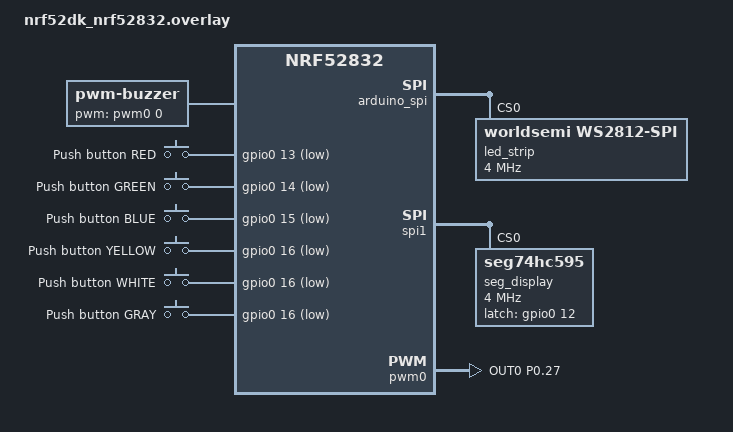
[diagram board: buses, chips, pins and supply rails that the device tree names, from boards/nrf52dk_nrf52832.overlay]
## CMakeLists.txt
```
cmake_minimum_required(VERSION 3.20.0)

list(APPEND EXTRA_ZEPHYR_MODULES ${CMAKE_CURRENT_SOURCE_DIR}/7seg_driver_module)

find_package(Zephyr REQUIRED HINTS $ENV{ZEPHYR_BASE})
project(mastermind)

FILE(GLOB app_sources src/*.cpp)
target_sources(app PRIVATE ${app_sources})

set(GIT_DIR_LOOKUP_POLICY ALLOW_LOOKING_ABOVE_CMAKE_SOURCE_DIR)
add_subdirectory(src/etl)
target_link_libraries(app PRIVATE etl::etl)
```

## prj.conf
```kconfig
# Device
CONFIG_LOG=y
CONFIG_TEST_RANDOM_GENERATOR=y
CONFIG_ENTROPY_GENERATOR=y
CONFIG_STATIC_INIT_GNU=y
CONFIG_POLL=y
CONFIG_SMF=y
CONFIG_POWEROFF=y
CONFIG_SPI=y

# For LED
CONFIG_LED_STRIP=y
CONFIG_LED_STRIP_LOG_LEVEL_DBG=y

# For Bluetooth
CONFIG_BT=y
CONFIG_BT_SMP=y
CONFIG_BT_PERIPHERAL=y
CONFIG_BT_DIS=y
CONFIG_BT_DIS_PNP=n
CONFIG_BT_DEVICE_NAME="Mastermind"
CONFIG_BT_GATT_CLIENT=y
CONFIG_BT_BUF_ACL_RX_SIZE=251
CONFIG_BT_BUF_ACL_TX_SIZE=251
CONFIG_BT_L2CAP_TX_MTU=247
CONFIG_BT_CTLR_DATA_LENGTH_MAX=251

# For Buzzer
CONFIG_PWM=y
CONFIG_PWM_LOG_LEVEL_DBG=y

# For 7 segment display
CONFIG_AUXDISPLAY=y
CONFIG_AUXDISPLAY_74HC595=y
```

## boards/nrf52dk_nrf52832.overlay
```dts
#include <zephyr/dt-bindings/led/led.h>

&arduino_spi {/* MOSI on D11 / P0.23 */
	compatible = "nordic,nrf-spim";
	led_strip: ws2812@0 {
		compatible = "worldsemi,ws2812-spi";

		/* SPI */
		reg = <0>; /* ignored, but necessary for SPI bindings */
		spi-max-frequency = <4000000>;

		/* WS2812 */
		chain-length = <8>;
		color-mapping = <LED_COLOR_ID_GREEN
		LED_COLOR_ID_RED
		LED_COLOR_ID_BLUE>;
		spi-one-frame = <0x70>;
		spi-zero-frame = <0x40>;
	};
};

&spi1 {
	status = "okay";
	compatible = "nordic,nrf-spim";
	seg_display: seg_display@0 {
		compatible = "zephyr,seg74hc595";
		/* SPI */
		reg = <0>;
		spi-max-frequency = <4000000>;

		/* 74HC595 */
		latch-gpios = <&gpio0 12 GPIO_ACTIVE_HIGH>;
		digits = <2>;
		common-anode;
	};
};

/ {
	aliases {
		led-strip = &led_strip;
	};

	buzzer: buzzer {
		compatible = "pwm-buzzer";
		status = "okay";
		pwms = <&pwm0 0 PWM_MSEC(2) PWM_POLARITY_NORMAL>;
	};

	buttons_color {
		compatible = "gpio-keys";

		button_red: button_red {
			gpios = <&gpio0 13 (GPIO_PULL_UP | GPIO_ACTIVE_LOW)>;
			label = "Push button RED";
			zephyr,code = <INPUT_KEY_0>;
		};

		button_green: button_green {
			gpios = <&gpio0 14 (GPIO_PULL_UP | GPIO_ACTIVE_LOW)>;
			label = "Push button GREEN";
			zephyr,code = <INPUT_KEY_1>;
		};

		button_blue: button_blue {
			gpios = <&gpio0 15 (GPIO_PULL_UP | GPIO_ACTIVE_LOW)>;
			label = "Push button BLUE";
			zephyr,code = <INPUT_KEY_2>;
		};

		button_yellow: button_yellow {
			gpios = <&gpio0 16 (GPIO_PULL_UP | GPIO_ACTIVE_LOW)>;
			label = "Push button YELLOW";
			zephyr,code = <INPUT_KEY_3>;
		};

		button_white: button_white {
			gpios = <&gpio0 16 (GPIO_PULL_UP | GPIO_ACTIVE_LOW)>;
			label = "Push button WHITE";
			zephyr,code = <INPUT_KEY_4>;
		};

		button_gray: button_gray {
			gpios = <&gpio0 16 (GPIO_PULL_UP | GPIO_ACTIVE_LOW)>;
			label = "Push button GRAY";
			zephyr,code = <INPUT_KEY_5>;
		};

	};
};

&pinctrl {
	pwm0_buzzer: pwm0_buzzer {
		group1 {
			psels = <NRF_PSEL(PWM_OUT0, 0, 27)>;
			nordic,invert;
		};
	};
	pwm0_buzzer_sleep: pwm0_buzzer_sleep {
		group1 {
			psels = <NRF_PSEL(PWM_OUT0, 0, 27)>;
			low-power-enable;
		};
	};
};

&pwm0 {
	status = "okay";
	pinctrl-0 = <&pwm0_buzzer>;
	pinctrl-1 = <&pwm0_buzzer_sleep>;
	pinctrl-names = "default", "sleep";
};
```

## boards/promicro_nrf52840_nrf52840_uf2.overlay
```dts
#include <zephyr/dt-bindings/led/led.h>

&spi2 {
	compatible = "nordic,nrf-spim";
	pinctrl-0 = <&spi2_ledstrip>;
	pinctrl-1 = <&spi2_ledstrip_sleep>;

	led_strip: ws2812@0 {
		compatible = "worldsemi,ws2812-spi";

		/* SPI */
		reg = <0>; /* ignored, but necessary for SPI bindings */
		spi-max-frequency = <4000000>;

		/* WS2812 */
		chain-length = <8>;
		color-mapping = <LED_COLOR_ID_GREEN
		LED_COLOR_ID_RED
		LED_COLOR_ID_BLUE>;
		spi-one-frame = <0x70>;
		spi-zero-frame = <0x40>;
	};
};

/ {
	aliases {
		led-strip = &led_strip;
	};

	buzzer: buzzer {
		compatible = "pwm-buzzer";
		status = "okay";
		pwms = <&pwm0 0 PWM_MSEC(2) PWM_POLARITY_NORMAL>;
	};

	buttons_color {
		compatible = "gpio-keys";

		button_red: button_red {
			gpios = <&gpio0 31 (GPIO_PULL_UP | GPIO_ACTIVE_LOW)>;
			label = "Push button RED";
			zephyr,code = <INPUT_KEY_0>;
		};

		button_green: button_green {
			gpios = <&gpio0 29 (GPIO_PULL_UP | GPIO_ACTIVE_LOW)>;
			label = "Push button GREEN";
			zephyr,code = <INPUT_KEY_1>;
		};

		button_blue: button_blue {
			gpios = <&gpio0 02 (GPIO_PULL_UP | GPIO_ACTIVE_LOW)>;
			label = "Push button BLUE";
			zephyr,code = <INPUT_KEY_2>;
		};

		button_yellow: button_yellow {
			gpios = <&gpio1 15 (GPIO_PULL_UP | GPIO_ACTIVE_LOW)>;
			label = "Push button YELLOW";
			zephyr,code = <INPUT_KEY_3>;
		};

		button_white: button_white {
			gpios = <&gpio1 13 (GPIO_PULL_UP | GPIO_ACTIVE_LOW)>;
			label = "Push button WHITE";
			zephyr,code = <INPUT_KEY_4>;
		};

		button_gray: button_gray {
			gpios = <&gpio1 11 (GPIO_PULL_UP | GPIO_ACTIVE_LOW)>;
			label = "Push button GRAY";
			zephyr,code = <INPUT_KEY_5>;
		};

	};
};

&pinctrl {
	pwm0_buzzer: pwm0_buzzer {
		group1 {
			psels = <NRF_PSEL(PWM_OUT0, 1, 00)>;
			nordic,invert;
		};
	};
	pwm0_buzzer_sleep: pwm0_buzzer_sleep {
		group1 {
			psels = <NRF_PSEL(PWM_OUT0, 1, 00)>;
			low-power-enable;
		};
	};

	spi2_ledstrip: spi2_ledstrip {
		group1 {
			psels = <NRF_PSEL(SPIM_SCK, 1, 1)>,
				<NRF_PSEL(SPIM_MOSI, 0, 11)>,
				<NRF_PSEL(SPIM_MISO, 1, 7)>;
		};
	};

	spi2_ledstrip_sleep: spi2_ledstrip_sleep {
		group1 {
			psels = <NRF_PSEL(SPIM_SCK, 1, 1)>,
				<NRF_PSEL(SPIM_MOSI, 0, 11)>,
				<NRF_PSEL(SPIM_MISO, 1, 7)>;
			low-power-enable;
		};
	};
};

&pwm0 {
	status = "okay";
	pinctrl-0 = <&pwm0_buzzer>;
	pinctrl-1 = <&pwm0_buzzer_sleep>;
	pinctrl-names = "default", "sleep";
};
```

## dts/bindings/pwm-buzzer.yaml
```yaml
description: PWM-driven buzzer.

compatible: "pwm-buzzer"

include: base.yaml

properties:
  pwms:
    required: true
    type: phandle-array
    description: PWM specifier driving the buzzer.
```

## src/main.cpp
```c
#include <zephyr/logging/log.h>
#include <zephyr/kernel.h>
#include <zephyr/device.h>
#include <zephyr/sys/util.h>
#include <zephyr/smf.h>
#include <zephyr/sys/poweroff.h>

#include "etl/array.h"
#include "combination.hpp"
#include "leds.hpp"
#include "buttons.hpp"
#include "ble.hpp"
#include "buzzer.hpp"
#include "display.hpp"
#include "app_cfg.hpp"

#define LOG_LEVEL 4

LOG_MODULE_REGISTER(main);

enum state
{
	STATE_START,
	STATE_CHECK_INPUT,
	STATE_CHECK_CMD,
	STATE_CLUES,
	STATE_END_WIN,
	STATE_END_LOST,
	STATE_OFF
};

static void state_start_run(void *o);
static void state_check_input_run(void *o);
static void state_check_cmd_run(void *o);
static void state_clues_run(void *o);
static void state_end_win_run(void *o);
static void state_end_lost_run(void *o);
static void state_off_run(void *o);

// FSM state variables
static led_strip leds;
static buzzer buzzer;
static display display;
static buttons buts;
static combination code;
static etl::array<combination, MAX_TRY> tentatives;
static uint8_t try_id;
static bool manual_mode;
static struct smf_ctx ctx;

static const struct smf_state states[] = {
	[STATE_START] = SMF_CREATE_STATE(NULL, state_start_run, NULL, NULL, NULL),
	[STATE_CHECK_INPUT] = SMF_CREATE_STATE(NULL, state_check_input_run, NULL, NULL, NULL),
	[STATE_CHECK_CMD] = SMF_CREATE_STATE(NULL, state_check_cmd_run, NULL, NULL, NULL),
	[STATE_CLUES] = SMF_CREATE_STATE(NULL, state_clues_run, NULL, NULL, NULL),
	[STATE_END_WIN] = SMF_CREATE_STATE(NULL, state_end_win_run, NULL, NULL, NULL),
	[STATE_END_LOST] = SMF_CREATE_STATE(NULL, state_end_lost_run, NULL, NULL, NULL),
	[STATE_OFF] = SMF_CREATE_STATE(NULL, state_off_run, NULL, NULL, NULL),
};

static void state_start_run(void *o)
{
	try_id = 0;
	tentatives[try_id].unset_all();
	leds.reset();

	if (!manual_mode)
	{
		// If manual mode is disabled, generate a random code
		code.random_fill();
	}

	display.show_number(1);
	buzzer.play_start();

	ble_update_status(tentatives, code, try_id);
	smf_set_state(&ctx, &states[STATE_CHECK_CMD]);
}

static void state_check_cmd_run(void *o)
{
	etl::bitset<BT_COMMAND_COUNT> &cmds = ble_get_commands();
	etl::array<uint8_t, BT_COMMAND_BUF_SIZE> &buf = ble_get_command_buf();
	const struct smf_state *next_state = &states[STATE_CHECK_INPUT];
	uint8_t pos = 0;

	while (cmds.any())
	{
		pos = cmds.find_first(true);
		switch (pos)
		{
		case BT_COMMAND_RESET:
			LOG_INF("Executing 'Reset' command");
			manual_mode = false;
			next_state = &states[STATE_START];
			break;
		case BT_COMMAND_OFF:
			LOG_INF("Executing 'Off' command");
			next_state = &states[STATE_OFF];
			break;
		case BT_COMMAND_CODE:
			LOG_INF("Executing 'Code' command");
			manual_mode = true;
			for (uint8_t i = 0; i < code.slots.size(); i++)
			{
				code.set_slot(i, static_cast<slot_value>(buf[i]));
			}
			next_state = &states[STATE_START];
			break;
		default:
			LOG_ERR("Unknown command");
			break;
		}
		cmds.set(pos, false);
	}

	smf_set_state(&ctx, next_state);
}

static void state_check_input_run(void *o)
{
	uint8_t slot_left = 0;
	button_val val = buts.wait_for_input(K_MSEC(1000));
	switch (val)
	{
	case button_val::BUTTON_VAL_1:
	case button_val::BUTTON_VAL_2:
	case button_val::BUTTON_VAL_3:
	case button_val::BUTTON_VAL_4:
	case button_val::BUTTON_VAL_5:
	case button_val::BUTTON_VAL_6:
		buzzer.play_button();
		slot_left = tentatives[try_id].set_slot_next(static_cast<slot_value>(val));
		break;
	case button_val::BUTTON_VAL_NONE:
		smf_set_state(&ctx, &states[STATE_CHECK_CMD]);
		return;
	default:
		LOG_ERR("Unknown button pressed");
		break;
	}

	if (slot_left == 0)
	{
		smf_set_state(&ctx, &states[STATE_CLUES]);
	}
	else
	{
		leds.update_combination(tentatives[try_id]);
		leds.refresh();
	}
}

static void state_clues_run(void *o)
{
	LOG_INF("[Combi %d] All slot filled, showing clues", try_id);
	bool guessed = tentatives[try_id].compute_clues(code);
	leds.update_combination(tentatives[try_id++]);
	leds.refresh();

	buzzer.play_clues();
	display.show_number(try_id + 1);

	ble_update_status(tentatives, code, try_id);

	if (guessed)
	{
		smf_set_state(&ctx, &states[STATE_END_WIN]);
	}
	else if (try_id >= tentatives.size())
	{
		smf_set_state(&ctx, &states[STATE_END_LOST]);
	}
	else
	{
		tentatives[try_id].unset_all();
		smf_set_state(&ctx, &states[STATE_CHECK_CMD]);
	}
}

static void state_end_win_run(void *o)
{
	LOG_INF("WIN !");
	buzzer.play_win();
	display.clear();

	// Wait a bit to show the win message
	k_sleep(K_SECONDS(5));
	manual_mode = false;
	smf_set_state(&ctx, &states[STATE_START]);
}

static void state_end_lost_run(void *o)
{
	LOG_INF("LOST !");
	buzzer.play_lose();
	display.clear();
	leds.update_combination(code);
	leds.refresh();

	// Wait a bit to show the lose message
	k_sleep(K_SECONDS(5));
	manual_mode = false;
	smf_set_state(&ctx, &states[STATE_START]);
}

static void state_off_run(void *o)
{
	LOG_INF("Powering off");
	leds.reset();
	sys_poweroff();
}

int main(void)
{
	if (!buts.init())
	{
		return 1;
	}

	if (!leds.init())
	{
		return 1;
	}

	if (!ble_init())
	{
		return 1;
	}

	if(!buzzer.init())
	{
		return 1;
	}

	if(!display.init())
	{
		return 1;
	}

	manual_mode = false;
	smf_set_initial(&ctx, &states[STATE_START]);

	while (1)
	{
		smf_run_state(&ctx);
	}

	return 1;
}
```

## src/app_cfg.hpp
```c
#ifndef APP_CFG_H
#define APP_CFG_H

#define MAX_TRY 10

#endif
```

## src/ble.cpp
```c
#include <zephyr/logging/log.h>
#include <zephyr/device.h>
#include <zephyr/devicetree.h>
#include <zephyr/bluetooth/bluetooth.h>
#include <zephyr/bluetooth/hci.h>
#include <zephyr/bluetooth/conn.h>
#include <zephyr/bluetooth/uuid.h>
#include <zephyr/bluetooth/gatt.h>
#include <zephyr/bluetooth/services/bas.h>
#include <zephyr/bluetooth/services/hrs.h>

#include "etl/bitset.h"
#include "etl/array.h"
#include "ble.hpp"
#include "combination.hpp"
#include "app_cfg.hpp"

#define BT_UUID_MSTR_SRV_VAL BT_UUID_128_ENCODE(0x00001523, 0x2929, 0xefde, 0x1523, 0x785feabcd123)
#define BT_UUID_MSTR_STATUS_CHAR_VAL BT_UUID_128_ENCODE(0x00001524, 0x2929, 0xefde, 0x1523, 0x785feabcd123)
#define BT_UUID_MSTR_CMD_CHAR_VAL BT_UUID_128_ENCODE(0x00001525, 0x2929, 0xefde, 0x1523, 0x785feabcd123)

#define BT_UUID_MSTR_SRV BT_UUID_DECLARE_128(BT_UUID_MSTR_SRV_VAL)
#define BT_UUID_MSTR_STATUS_CHAR BT_UUID_DECLARE_128(BT_UUID_MSTR_STATUS_CHAR_VAL)
#define BT_UUID_MSTR_CMD_CHAR BT_UUID_DECLARE_128(BT_UUID_MSTR_CMD_CHAR_VAL)

#define LOG_LEVEL 4

LOG_MODULE_REGISTER(ble);

static void connected(struct bt_conn *conn, uint8_t err);
static void disconnected(struct bt_conn *conn, uint8_t reason);
static void recycled(void);
static void exchange_mtu(struct bt_conn *conn, uint8_t att_err,
                         struct bt_gatt_exchange_params *params);
static ssize_t read_status(struct bt_conn *conn,
                           const struct bt_gatt_attr *attr, void *buf,
                           uint16_t len, uint16_t offset);
static ssize_t write_command(struct bt_conn *conn,
                             const struct bt_gatt_attr *attr,
                             const void *buf,
                             uint16_t len, uint16_t offset, uint8_t flags);

static const struct bt_data ad[] = {
    BT_DATA_BYTES(BT_DATA_FLAGS, (BT_LE_AD_GENERAL | BT_LE_AD_NO_BREDR)),
    BT_DATA_BYTES(BT_DATA_UUID16_ALL,
                  BT_UUID_16_ENCODE(BT_UUID_DIS_VAL)),
};

static const struct bt_data sd[] = {
    BT_DATA(BT_DATA_NAME_COMPLETE, CONFIG_BT_DEVICE_NAME, sizeof(CONFIG_BT_DEVICE_NAME) - 1),
};

static struct bt_conn *connection;
static uint8_t status_buf[BLE_STATUS_BUF_SIZE] = {0};
static uint8_t status_buf_len = 0;
static etl::bitset<BT_COMMAND_COUNT> command_flags = 0;
static etl::array<uint8_t, BT_COMMAND_BUF_SIZE> command_buf = {0};

BT_CONN_CB_DEFINE(conn_callbacks) = {
    .connected = connected,
    .disconnected = disconnected,
    .recycled = recycled,
};

BT_GATT_SERVICE_DEFINE(mstr_svc,
                       BT_GATT_PRIMARY_SERVICE(BT_UUID_MSTR_SRV),
                       BT_GATT_CHARACTERISTIC(BT_UUID_MSTR_STATUS_CHAR, BT_GATT_CHRC_NOTIFY | BT_GATT_CHRC_READ,
                                              BT_GATT_PERM_READ, read_status, NULL, NULL),
                       BT_GATT_CCC(NULL, BT_GATT_PERM_READ | BT_GATT_PERM_WRITE),
                       BT_GATT_CHARACTERISTIC(BT_UUID_MSTR_CMD_CHAR,
                                              BT_GATT_CHRC_WRITE,
                                              BT_GATT_PERM_WRITE, NULL, write_command,
                                              NULL), );

static void connected(struct bt_conn *conn, uint8_t err)
{
    static struct bt_gatt_exchange_params params;

    if (err)
    {
        LOG_ERR("Connection failed, err 0x%02x %s", err, bt_hci_err_to_str(err));
    }
    else
    {
        LOG_INF("Connected, updating MTU");
        connection = conn;
        params.func = exchange_mtu;
        err = bt_gatt_exchange_mtu(connection, &params);
        if (err)
        {
            LOG_ERR("bt_gatt_exchange_mtu failed (err %d)", err);
        }
    }
}

static void disconnected(struct bt_conn *conn, uint8_t reason)
{
    LOG_INF("Disconnected, reason 0x%02x %s", reason, bt_hci_err_to_str(reason));
    connection = NULL;
}

static void recycled(void)
{
    LOG_INF("Connection recycled. Restarting advertisements");
    int err = bt_le_adv_start(BT_LE_ADV_CONN_FAST_1, ad, ARRAY_SIZE(ad), sd, ARRAY_SIZE(sd));
    if (err)
    {
        LOG_ERR("Advertising failed to start (err %d)", err);
        return;
    }
}

static void exchange_mtu(struct bt_conn *conn, uint8_t att_err,
                         struct bt_gatt_exchange_params *params)
{
    if (att_err)
    {
        LOG_ERR("MTU exchange failed");
    }
    else
    {
        LOG_INF("MTU exchange successful");
    }
}

static ssize_t read_status(struct bt_conn *conn,
                           const struct bt_gatt_attr *attr, void *buf,
                           uint16_t len, uint16_t offset)
{
    LOG_INF("Received request to read game status");
    return bt_gatt_attr_read(conn, attr, buf, len, offset,
                             &status_buf, status_buf_len);
}

static ssize_t write_command(struct bt_conn *conn,
                             const struct bt_gatt_attr *attr,
                             const void *buf,
                             uint16_t len, uint16_t offset, uint8_t flags)
{
    uint8_t cmd = *((uint8_t *)buf);

    LOG_INF("Received write command");

    if (len < 1 || len > BT_COMMAND_BUF_SIZE + 1)
    {
        LOG_ERR("Incorrect data length");
        return BT_GATT_ERR(BT_ATT_ERR_INVALID_ATTRIBUTE_LEN);
    }

    if (offset != 0)
    {
        LOG_ERR("Incorrect data offset");
        return BT_GATT_ERR(BT_ATT_ERR_INVALID_OFFSET);
    }

    switch (cmd)
    {
    case BT_COMMAND_RESET:
    case BT_COMMAND_OFF:
    case BT_COMMAND_CODE:
        LOG_INF("Valid command received");
        command_flags.set(cmd, true);
        break;
    default:
        LOG_ERR("Unknown command");
        return BT_GATT_ERR(BT_ATT_ERR_VALUE_NOT_ALLOWED);
    }

    memcpy(command_buf.data(), ((uint8_t *)buf) + 1, len - 1);

    return len;
}

/**
 * @brief Initialise the Bluetooth Low Energy module.
 *
 * @return true if the initialization was successful, false otherwise.
 */
bool ble_init(void)
{
    int32_t err = bt_enable(NULL);
    if (err)
    {
        LOG_ERR("Bluetooth init failed (err %d)", err);
        return false;
    }

    LOG_INF("Starting advertising");
    err = bt_le_adv_start(BT_LE_ADV_CONN_FAST_1, ad, ARRAY_SIZE(ad), sd, ARRAY_SIZE(sd));
    if (err)
    {
        LOG_ERR("Advertising failed to start (err %d)", err);
        return false;
    }

    return true;
}

/**
 * @brief Updates the game status buffer, which is then sent to connected devices.
 *
 * The game status is made up of the following elements:
 * - The correct combination (code) object, serialized.
 * - The number of tries that have been made so far.
 * - The combinations that have been tried before, serialized.
 *
 * @param tentatives The tentative combinations that have been tried.
 * @param code The correct combination.
 * @param try_nb The number of tries that have been made so far.
 */
void ble_update_status(etl::array<combination, MAX_TRY> &tentatives, combination &code, uint8_t try_nb)
{
    uint8_t *buf_ptr = status_buf;

    buf_ptr = code.serialize(buf_ptr);
    memcpy(buf_ptr, &try_nb, sizeof(try_nb));
    buf_ptr += sizeof(try_nb);
    for (uint8_t i = 0; i < try_nb; i++)
    {
        buf_ptr = tentatives[i].serialize(buf_ptr);
    }

    status_buf_len = buf_ptr - &status_buf[0];
    ble_status_notify();
}

/**
 * @brief Notify the connected device about the game status.
 */
void ble_status_notify(void)
{
    LOG_HEXDUMP_INF(status_buf, status_buf_len, "Status buffer");
    const struct bt_gatt_attr *attr = &mstr_svc.attrs[1];
    if (connection && bt_gatt_is_subscribed(connection, attr, BT_GATT_CCC_NOTIFY))
    {
        LOG_INF("Sending notification to update game status");
        int err = bt_gatt_notify(connection, attr, status_buf, status_buf_len);
        if (err)
        {
            LOG_ERR("Failed to send notification (err %d)", err);
        }
    }
}

/**
 * @brief Returns a reference to the command flags bitset.
 *
 * @return A reference to the command flags bitset.
 */
etl::bitset<BT_COMMAND_COUNT> &ble_get_commands(void)
{
    return command_flags;
}

/**
 * @brief Returns a reference to the command buffer array.
 *
 * @return A reference to the command buffer array.
 */
etl::array<uint8_t, BT_COMMAND_BUF_SIZE> &ble_get_command_buf(void)
{
    return command_buf;
}
```

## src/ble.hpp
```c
#ifndef BLE_H
#define BLE_H

#include "etl/bitset.h"
#include "etl/array.h"

#include "combination.hpp"
#include "app_cfg.hpp"

#define BLE_STATUS_BUF_SIZE 128

#define BT_COMMAND_RESET 0
#define BT_COMMAND_OFF 1
#define BT_COMMAND_CODE 2
#define BT_COMMAND_COUNT 3
#define BT_COMMAND_BUF_SIZE 8

bool ble_init(void);
void ble_update_status(etl::array<combination, MAX_TRY> &tentatives, combination &code, uint8_t try_nb);
void ble_status_notify();
etl::bitset<BT_COMMAND_COUNT> &ble_get_commands(void);
etl::array<uint8_t, BT_COMMAND_BUF_SIZE> &ble_get_command_buf(void);

#endif
```

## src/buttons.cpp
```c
#include <zephyr/logging/log.h>

#include <zephyr/kernel.h>
#include <zephyr/device.h>
#include <zephyr/drivers/gpio.h>

#include "buttons.hpp"

#define LOG_LEVEL 4
#define DEBOUNCE_TIME 200

LOG_MODULE_REGISTER(buttons);

static struct k_poll_signal signal;

/**
 * @brief Raise a signal based on the pressed button.
 *
 * @param dev The device that triggered the callback.
 * @param cb The callback structure.
 * @param pins The pin number of the pressed button.
 */
static void button_pressed(const struct device *dev, struct gpio_callback *cb, uint32_t pins)
{
	static int64_t last_button_pressed = 0;
	// Debounce all the buttons together, no concurrent button presses allowed
	int64_t current_tick = k_uptime_get();
	if (current_tick - last_button_pressed > DEBOUNCE_TIME)
	{
		k_poll_signal_raise(&signal, pins);
		last_button_pressed = current_tick;
	}
}

/**
 * @brief Wait for a button press event with a given timeout.
 *
 * @param timeout The timeout in milliseconds.
 * @return The button value of the pressed button, or BUTTON_VAL_NONE if no event was received.
 */
button_val buttons::wait_for_input(k_timeout_t timeout)
{
	unsigned int signaled;
	int result;
	int index = 0;
	button_val ret = button_val::BUTTON_VAL_NONE;
	struct k_poll_event events[1] = {
		K_POLL_EVENT_INITIALIZER(K_POLL_TYPE_SIGNAL,
								 K_POLL_MODE_NOTIFY_ONLY,
								 &signal),
	};

	k_poll(events, 1, timeout);
	k_poll_signal_check(&signal, &signaled, &result);

	if (signaled)
	{
		for (const auto &i : specs)
		{
			if (BIT(i.pin) == result)
			{
				ret = static_cast<button_val>(index);
				break;
			}
			index++;
		}
	}
	else
	{
		ret = button_val::BUTTON_VAL_NONE;
	}

	k_poll_signal_reset(&signal);
	events[0].state = K_POLL_STATE_NOT_READY;
	return ret;
}

/**
 * @brief Initialise the buttons module.
 *
 * @return true if the initialization was successful, false otherwise.
 */
bool buttons::init(void)
{
	int ret;
	gpio_port_pins_t pin_mask;

	LOG_INF("Initializing buttons");

	for (const auto &i : specs)
	{
		if (!device_is_ready(i.port))
		{
			LOG_ERR("Device is not ready");
			return false;
		}

		ret = gpio_pin_configure_dt(&i, GPIO_INPUT);
		if (ret < 0)
		{
			LOG_ERR("Couldn't configure pin: %d", ret);
			return false;
		}

		ret = gpio_pin_interrupt_configure_dt(&i, GPIO_INT_LEVEL_ACTIVE);
		if (ret < 0)
		{
			LOG_ERR("Couldn't configure pin interrupt: %d", ret);
			return false;
		}

		WRITE_BIT(pin_mask, i.pin, 1);
	}

	// Initialize polling signal
	k_poll_signal_init(&signal);

	// Adding interrupt callback
	gpio_init_callback(&cb_data, button_pressed, pin_mask);

	for (const auto &i : specs)
	{
		ret = gpio_add_callback_dt(&i, &cb_data);
		if (ret < 0)
		{
			LOG_ERR("Couldn't add callback: %d", ret);
			return false;
		}
	}

	return true;
}
```

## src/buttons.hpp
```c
#ifndef BUTTONS_H
#define BUTTONS_H

#include <cstdint>
#include <zephyr/kernel.h>
#include <zephyr/device.h>
#include <zephyr/devicetree.h>
#include <zephyr/drivers/gpio.h>

#include "etl/array.h"

enum class button_val : uint8_t
{
    BUTTON_VAL_1 = 0,
    BUTTON_VAL_2,
    BUTTON_VAL_3,
    BUTTON_VAL_4,
    BUTTON_VAL_5,
    BUTTON_VAL_6,
    BUTTON_VAL_NONE,
    BUTTON_VAL_MAX,
};

class buttons
{
public:
    bool init(void);
    button_val wait_for_input(k_timeout_t timeout);

private:
    const etl::array<struct gpio_dt_spec, 6> specs = {{GPIO_DT_SPEC_GET(DT_NODELABEL(button_white), gpios),
                                                       GPIO_DT_SPEC_GET(DT_NODELABEL(button_red), gpios),
                                                       GPIO_DT_SPEC_GET(DT_NODELABEL(button_green), gpios),
                                                       GPIO_DT_SPEC_GET(DT_NODELABEL(button_blue), gpios),
                                                       GPIO_DT_SPEC_GET(DT_NODELABEL(button_yellow), gpios),
                                                       GPIO_DT_SPEC_GET(DT_NODELABEL(button_gray), gpios)}};
    struct gpio_callback cb_data;
};

#endif
```

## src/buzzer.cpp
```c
#include <zephyr/kernel.h>
#include <zephyr/device.h>
#include <zephyr/drivers/pwm.h>
#include <zephyr/logging/log.h>

#include "etl/array.h"
#include "buzzer.hpp"

#define BUZZER_STACK 1024
#define LOG_LEVEL 4

LOG_MODULE_REGISTER(buzzer);

static const etl::array<note_duration, 3> start{{{500, 200},
                                                 {800, 200},
                                                 {500, 200}}};
static const etl::array<note_duration, 1> button{{{400, 100}}};
static const etl::array<note_duration, 1> clues{{{600, 200}}};
static const etl::array<note_duration, 2> lose{{{392, 250}, {262, 500}}};
static const etl::array<note_duration, 12> win{{{880, 250},
                                                {988, 250},
                                                {523, 250},
                                                {988, 250},
                                                {523, 250},
                                                {587, 250},
                                                {523, 250},
                                                {587, 250},
                                                {659, 250},
                                                {587, 250},
                                                {659, 250},
                                                {659, 250}}};

K_THREAD_STACK_DEFINE(threadStack, BUZZER_STACK);
buzzer::buzzer()
{
    k_sem_init(&initialized, 0, 1);
    threadId = k_thread_create(&kthread,
                               threadStack,
                               K_THREAD_STACK_SIZEOF(threadStack),
                               buzzer::thread,
                               this, NULL, NULL,
                               K_LOWEST_APPLICATION_THREAD_PRIO, 0, K_NO_WAIT);
}

/**
 * @brief Thread function for buzzer.
 *
 * This function is responsible for playing all the notes.
 */
void buzzer::thread(void *object, void *d1, void *d2)
{
    buzzer *buzzer_obj = reinterpret_cast<buzzer *>(object);
    bool restart_now = false;
    k_sem_take(&buzzer_obj->initialized, K_FOREVER);

    while (1)
    {
        restart_now = false;
        for (auto elem : buzzer_obj->song)
        {
            if (elem.note == 0)
            {
                // Silence
                pwm_set_pulse_dt(&buzzer_obj->pwm_buzzer, 0);
            }
            else
            {
                pwm_set_dt(&buzzer_obj->pwm_buzzer, PWM_HZ(elem.note),
                           PWM_HZ((elem.note)) / 2);
            }
            if (k_msleep(elem.duration) > 0)
            {
                // If sleep is interrupted by another song request, immediatly stop the current song and restart the new one
                restart_now = true;
                break;
            };
        }

        pwm_set_pulse_dt(&buzzer_obj->pwm_buzzer, 0);
        if (!restart_now)
        {
            k_sleep(K_FOREVER);
        }
    }
}

/**
 * @brief Initialises the buzzer.
 *
 * Checks if the PWM device is ready and initializes the
 * semaphore used to signal thread initialization.
 *
 * @return true if the initialization was successful, false otherwise.
 */
bool buzzer::init(void)
{
    int err = 0;

    if (!pwm_is_ready_dt(&pwm_buzzer))
    {
        LOG_ERR("Error: PWM device %s is not ready", pwm_buzzer.dev->name);
        return false;
    }

    k_sem_give(&initialized);
    return true;
}

/**
 * @brief Play the beep sound.
 *
 */
void buzzer::play_button(void)
{
    song.assign(button.begin(), button.end());
    k_wakeup(threadId);
}

void buzzer::play_start(void)
{
    song.assign(start.begin(), start.end());
    k_wakeup(threadId);
}

void buzzer::play_win(void)
{
    song.assign(win.begin(), win.end());
    k_wakeup(threadId);
}

void buzzer::play_lose(void)
{
    song.assign(lose.begin(), lose.end());
    k_wakeup(threadId);
}

void buzzer::play_clues(void)
{
    song.assign(clues.begin(), clues.end());
    k_wakeup(threadId);
}
```

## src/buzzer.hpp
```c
#ifndef BUZZER_H
#define BUZZER_H

#include <zephyr/drivers/pwm.h>

#include "etl/array_view.h"

struct note_duration
{
    uint16_t note;
    uint16_t duration;
};

class buzzer
{
public:
    buzzer();
    bool init();
    void play_button(void);
    void play_win(void);
    void play_lose(void);
    void play_clues(void);
    void play_start(void);

private:
    const struct pwm_dt_spec pwm_buzzer = PWM_DT_SPEC_GET(DT_NODELABEL(buzzer));
    k_tid_t threadId;
    struct k_thread kthread;
    struct k_sem initialized;
    etl::array_view<note_duration> song;
    static void thread(void *object, void *d1, void *d2);
};

#endif
```

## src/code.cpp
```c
#include <errno.h>
#include <string.h>

#define SLOT_NB 4

typedef enum slot_color {
	SLOT_COLOR_1,
	SLOT_COLOR_2,
	SLOT_COLOR_3,
	SLOT_COLOR_4,
	SLOT_COLOR_5,
	SLOT_COLOR_6,
} slot_color_t;

slot_color_t code[SLOT_NB];
```

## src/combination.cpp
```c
#include <cstdint>
#include <zephyr/logging/log.h>
#include <zephyr/random/random.h>

#include "etl/array.h"
#include "combination.hpp"

#define LOG_LEVEL 4

LOG_MODULE_REGISTER(combination);

/**
 * @brief Combination object constructor.
 *
 * Resets all slots in the combination by calling unset_all().
 */
combination::combination(void)
{
	unset_all();
}

/**
 * @brief Randomly fill the combination slots.
 */
void combination::random_fill(void)
{
	for (auto &slot : slots)
	{
		slot.value = static_cast<slot_value>(sys_rand8_get() % int(slot_value::SLOT_VAL_MAX));
		slot.set = true;
	}
}

/**
 * @brief Unset all slots in the combination.
 */
void combination::unset_all(void)
{
	for (auto &slot : slots)
	{
		slot.set = false;
	}

	clues_correct = 0;
	clues_present = 0;
}

/**
 * @brief Set the value of the given slot in the combination.
 *
 * @param index The index of the slot to set.
 * @param new_value The value to set in the given slot.
 */
void combination::set_slot(int index, slot_value new_value)
{
	slots[index].value = new_value;
	slots[index].set = true;
}

/**
 * @brief Set the value of the next unset slot.
 *
 * @param new_value The value to set in the next unset slot.
 *
 * @return The number of unset slots left after the operation.
 */
int combination::set_slot_next(slot_value new_value)
{
	int slot_left = slots.size();

	for (auto &slot : slots)
	{
		slot_left--;
		if (!slot.set)
		{
			slot.value = new_value;
			slot.set = true;
			break;
		}
	}

	return slot_left;
}

/**
 * @brief Compute the correct and present clues from the given combination code
 *
 * @param code Combination code to check against
 *
 * @return True if all slots are correct, false otherwise
 */
bool combination::compute_clues(combination code)
{
	clues_correct = 0;
	clues_present = 0;

	// First loop for checking correct value and position
	for (uint8_t i = 0; i < code.slots.size(); i++)
	{
		if (code.slots[i].value == slots[i].value)
		{
			clues_correct++;
			code.slots[i].value = slot_value::SLOT_VAL_MAX;
		}
	}

	// Second loop for checking correct value but wrong position
	for (uint8_t i = 0; i < code.slots.size(); i++)
	{
		if (code.slots[i].value == slot_value::SLOT_VAL_MAX)
		{
			// Skip slot already used
			continue;
		}

		for (uint8_t j = 0; j < slots.size(); j++)
		{
			if (code.slots[j].value == slot_value::SLOT_VAL_MAX)
			{
				// Skip slot already used
				continue;
			}

			if (code.slots[j].value == slots[i].value)
			{
				clues_present++;
				break;
			}
		}
	}

	LOG_INF("Correct : %d - Present : %d", clues_correct, clues_present);
	return clues_correct == slots.size();
}

/**
 * @brief Serialize the object in the passed buffer.
 *
 * The combination data is serialized in the following order:
 * - The values of the slots, stored in the slots array.
 * - The number of present clues.
 * - The number of correct clues.
 *
 * @param buf The buffer to serialize the data to.
 *
 * @return A pointer to the end of the serialized data.
 */
uint8_t *combination::serialize(uint8_t *buf)
{
	memcpy(buf, slots.data(), sizeof(slots));
	buf += sizeof(slots);
	memcpy(buf, &clues_present, sizeof(clues_present));
	buf += sizeof(clues_present);
	memcpy(buf, &clues_correct, sizeof(clues_correct));
	return buf + sizeof(clues_correct);
}
```

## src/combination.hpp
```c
#ifndef COMBINATION_H
#define COMBINATION_H

#include <cstdint>

#include "etl/array.h"

#define SLOT_NB 4

enum class slot_value : uint8_t
{
    SLOT_VAL_1 = 0,
    SLOT_VAL_2,
    SLOT_VAL_3,
    SLOT_VAL_4,
    SLOT_VAL_5,
    SLOT_VAL_6,
    SLOT_VAL_MAX,
};

struct slot
{
    slot_value value;
    bool set;
};

class combination
{

public:
    combination();
    etl::array<slot, SLOT_NB> slots;
    uint8_t clues_correct;
    uint8_t clues_present;
    void random_fill(void);
    void unset_all(void);
    void set_slot(int index, slot_value value);
    int set_slot_next(slot_value value);
    bool compute_clues(combination code);
    uint8_t *serialize(uint8_t *buf);
};
#endif
```

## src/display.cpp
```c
#include <zephyr/kernel.h>
#include <zephyr/device.h>
#include <zephyr/logging/log.h>
#include <zephyr/drivers/auxdisplay.h>

#include "display.hpp"

#define LOG_LEVEL 4

LOG_MODULE_REGISTER(display);

/**
 * @brief Initialize the display
 *
 * @return true if the initialization was successful, false otherwise.
 */
bool display::init(void)
{
    int err = device_is_ready(segment_display);
    if (!err)
    {
        LOG_INF("Error: SPI device is not ready, err: %d", err);
        return false;
    }

    return true;
}

/**
 * @brief Print a number on the display (0-99)
 *
 * @param num Integer to print on the display (0-99)
 * @return true if the operation was successful, false otherwise.
 */
bool display::show_number(uint8_t num)
{
    char str[3];

    if (num > 99)
    {
        LOG_ERR("Error: Cannot show number bigger than 99");
        return false;
    }

    sprintf(str, "%02u", num);
    if (!auxdisplay_write(segment_display, (uint8_t *)str, strlen(str)))
    {
        LOG_ERR("Error: Cannot write to display");
        return false;
    }

    return true;
}

/**
 * @brief Clear the content on the display
 *
 * @return true if the operation was successful, false otherwise.
 */
bool display::clear(void)
{
    if (!auxdisplay_clear(segment_display))
    {
        LOG_ERR("Error: Cannot write to display");
        return false;
    }

    return true;
}
```

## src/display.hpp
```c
#ifndef DISPLAY_H
#define DISPLAY_H

#include <zephyr/device.h>

class display
{
public:
    bool init();
    bool show_number(uint8_t num);
    bool clear(void);

private:
    const struct device *segment_display = DEVICE_DT_GET(DT_NODELABEL(seg_display));
};

#endif
```
